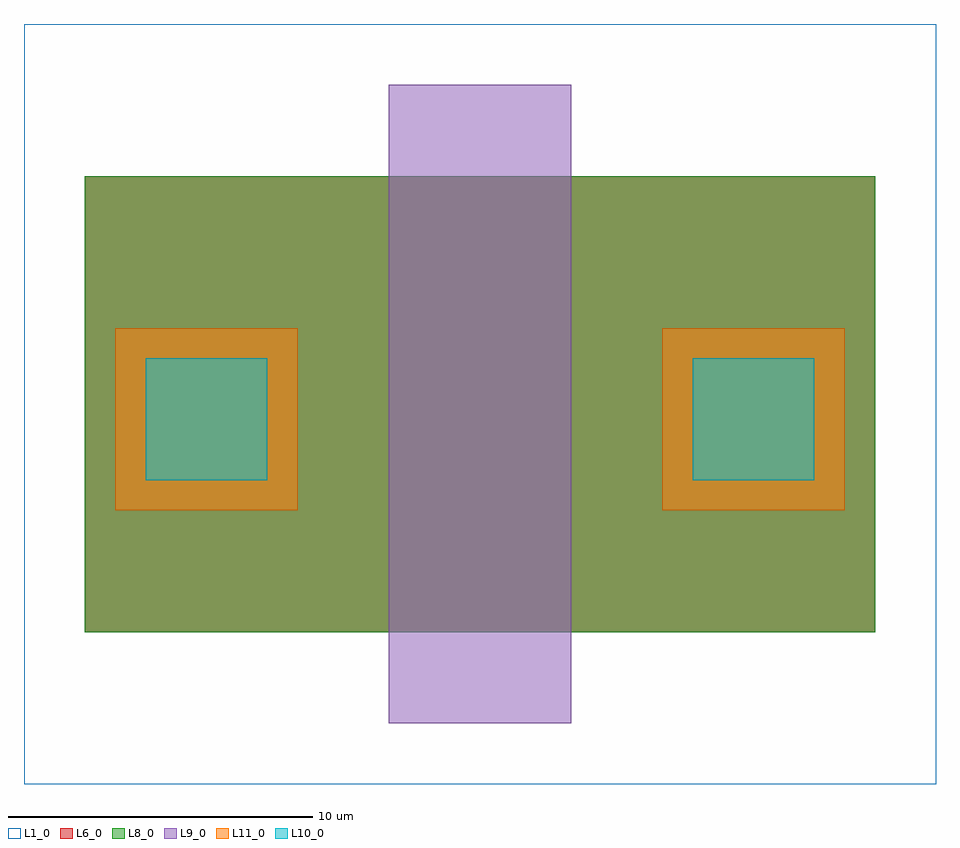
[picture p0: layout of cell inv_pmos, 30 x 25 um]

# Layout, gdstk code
import gdstk
lib = gdstk.Library(unit=1e-6, precision=1e-09)
def R(c, l, rs):  # rectangles x0, y0, x1, y1
    for r in rs: c.add(gdstk.rectangle(r[:2], r[2:], *l))
L1_0 = (1, 0)
L6_0 = (6, 0)
L8_0 = (8, 0)
L9_0 = (9, 0)
L10_0 = (10, 0)
L11_0 = (11, 0)

inv_pmos = lib.new_cell('inv_pmos')
R(inv_pmos, L1_0, [(0,0,30,25)])
R(inv_pmos, L6_0, [(2,5,28,20)])
R(inv_pmos, L8_0, [(2,5,28,20)])
R(inv_pmos, L9_0, [(12,2,18,23)])
R(inv_pmos, L10_0, [(4,10,8,14), (22,10,26,14)])
R(inv_pmos, L11_0, [(3,9,9,15), (21,9,27,15)])

lib.write_gds('inv_pmos.gds')
